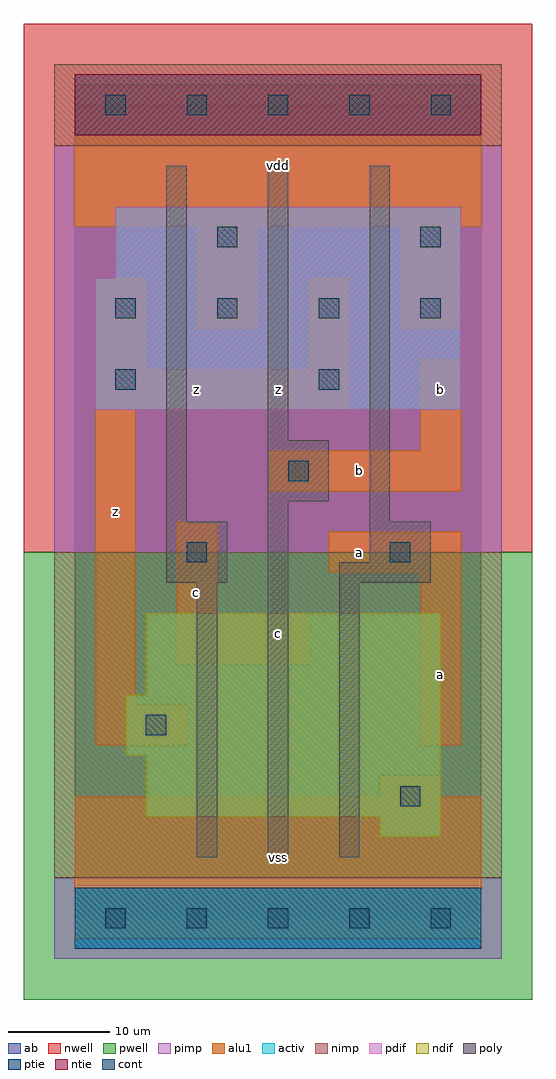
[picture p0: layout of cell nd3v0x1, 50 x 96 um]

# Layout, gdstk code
import gdstk
lib = gdstk.Library(unit=1e-6, precision=1e-09)
def R(c, l, rs):  # rectangles x0, y0, x1, y1
    for r in rs: c.add(gdstk.rectangle(r[:2], r[2:], *l))
def A(c, l, x, y, w, h, nx, ny, dx, dy):  # array of equal rectangles
    R(c, l, [(x+i*dx, y+j*dy, x+i*dx+w, y+j*dy+h) for i in range(nx) for j in range(ny)])
ndif = (3, 0)
pdif = (4, 0)
ntie = (5, 0)
ptie = (6, 0)
cont = (25, 0)
pwell = (41, 0)
nwell = (42, 0)
activ = (43, 0)
pimp = (44, 0)
nimp = (45, 0)
poly = (46, 0)
alu1 = (49, 0)
ab = (63, 0)

nd3v0x1 = lib.new_cell('nd3v0x1')
R(nd3v0x1, ndif, [(30,8,36,10), (7,10,36,16), (5,16,36,22), (7,22,36,30)])
R(nd3v0x1, pdif, [(2,50,38,63), (4,63,38,70)])
R(nd3v0x1, ntie, [(0,77,40,83)])
R(nd3v0x1, ptie, [(0,-3,40,3)])
A(nd3v0x1, cont, 3, -1, 2, 2, 5, 2, 8, 80)
A(nd3v0x1, cont, 4, 59, 2, 2, 4, 1, 10, 0)
R(nd3v0x1, cont, [(32,11,34,13), (7,18,9,20), (11,35,13,37), (31,35,33,37), (21,43,23,45), (4,52,6,54), (24,52,26,54), (14,66,16,68), (34,66,36,68)])
R(nd3v0x1, pwell, [(-5,-8,45,36)])
R(nd3v0x1, nwell, [(-5,36,45,88)])
R(nd3v0x1, activ, [(0,-3,40,3), (30,8,36,10), (7,10,36,16), (5,16,36,22), (7,22,36,30), (2,50,38,63), (4,63,38,70), (0,77,40,83)])
R(nd3v0x1, pimp, [(-2,-4,42,4), (-2,36,42,76)])
R(nd3v0x1, nimp, [(-2,4,42,36), (-2,76,42,84)])
R(nd3v0x1, poly, [(12,6,14,33), (19,6,21,41), (26,6,28,33), (9,33,15,39), (26,33,35,35), (29,35,35,39), (9,39,11,74), (29,39,31,74), (19,41,25,47), (19,47,21,74)])
R(nd3v0x1, alu1, [(0,-2,40,12), (30,12,36,14), (2,17,11,21), (34,17,38,34), (2,21,6,50), (10,25,23,30), (10,30,14,39), (25,34,38,38), (19,42,38,46), (34,46,38,55), (2,50,27,54), (2,54,7,63), (23,54,27,63), (12,58,18,68), (32,58,38,68), (0,68,40,82)])
R(nd3v0x1, ab, [(0,0,40,80)])
nd3v0x1.add(gdstk.Label('z', (4,40), layer=49, texttype=0))
nd3v0x1.add(gdstk.Label('c', (12,32), layer=49, texttype=0))
nd3v0x1.add(gdstk.Label('z', (12,52), layer=49, texttype=0))
nd3v0x1.add(gdstk.Label('vss', (20,6), layer=49, texttype=0))
nd3v0x1.add(gdstk.Label('c', (20,28), layer=49, texttype=0))
nd3v0x1.add(gdstk.Label('a', (28,36), layer=49, texttype=0))
nd3v0x1.add(gdstk.Label('b', (28,44), layer=49, texttype=0))
nd3v0x1.add(gdstk.Label('z', (20,52), layer=49, texttype=0))
nd3v0x1.add(gdstk.Label('vdd', (20,74), layer=49, texttype=0))
nd3v0x1.add(gdstk.Label('a', (36,24), layer=49, texttype=0))
nd3v0x1.add(gdstk.Label('b', (36,52), layer=49, texttype=0))

lib.write_gds('nd3v0x1.gds')
